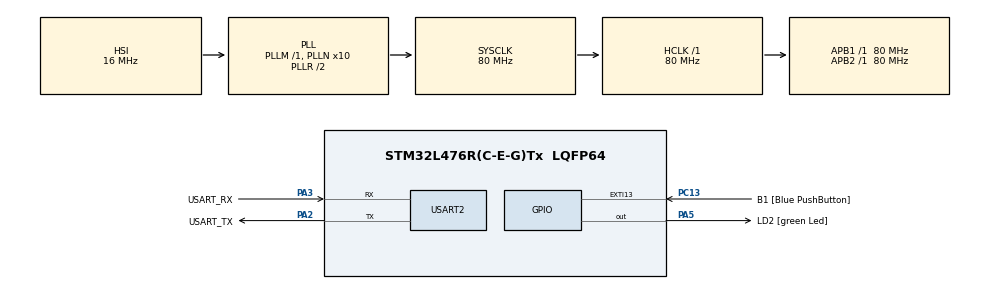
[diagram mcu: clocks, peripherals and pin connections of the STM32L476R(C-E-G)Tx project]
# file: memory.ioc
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Mcu.Family=STM32L4
Mcu.Name=STM32L476R(C-E-G)Tx
Mcu.Package=LQFP64
NVIC.PriorityGroup=NVIC_PRIORITYGROUP_4
PA13\ (JTMS-SWDIO).GPIO_Label=TMS
PA13\ (JTMS-SWDIO).Mode=Serial_Wire
PA13\ (JTMS-SWDIO).Signal=SYS_JTMS-SWDIO
PA14\ (JTCK-SWCLK).GPIO_Label=TCK
PA14\ (JTCK-SWCLK).Mode=Serial_Wire
PA14\ (JTCK-SWCLK).Signal=SYS_JTCK-SWCLK
PA2.GPIO_Label=USART_TX
PA2.GPIO_Mode=GPIO_MODE_AF_PP
PA2.GPIO_PuPd=GPIO_NOPULL
PA2.GPIO_Speed=GPIO_SPEED_FREQ_VERY_HIGH
PA2.Mode=Asynchronous
PA2.Signal=USART2_TX
PA3.GPIO_Label=USART_RX
PA3.GPIO_Mode=GPIO_MODE_AF_PP
PA3.GPIO_PuPd=GPIO_NOPULL
PA3.GPIO_Speed=GPIO_SPEED_FREQ_VERY_HIGH
PA3.Mode=Asynchronous
PA3.Signal=USART2_RX
PA5.GPIO_Label=LD2 [green Led]
PA5.GPIO_ModeDefaultOutputPP=GPIO_MODE_OUTPUT_PP
PA5.GPIO_PuPd=GPIO_NOPULL
PA5.GPIO_Speed=GPIO_SPEED_FREQ_LOW
PA5.Signal=GPIO_Output
PB3\ (JTDO-TRACESWO).GPIO_Label=SWO
PB3\ (JTDO-TRACESWO).Signal=SYS_JTDO-SWO
PC13.GPIO_Label=B1 [Blue PushButton]
PC13.GPIO_ModeDefaultEXTI=GPIO_MODE_IT_FALLING
PC13.GPIO_PuPd=GPIO_NOPULL
PC13.Signal=GPXTI13
PC14-OSC32_IN\ (PC14).Mode=LSE-External-Oscillator
PC14-OSC32_IN\ (PC14).Signal=RCC_OSC32_IN
PC15-OSC32_OUT\ (PC15).Mode=LSE-External-Oscillator
PC15-OSC32_OUT\ (PC15).Signal=RCC_OSC32_OUT
PH0-OSC_IN\ (PH0).Signal=RCC_OSC_IN
PH1-OSC_OUT\ (PH1).Signal=RCC_OSC_OUT
ProjectManager.HeapSize=0x200
ProjectManager.StackSize=0x400
ProjectManager.TargetToolchain=STM32CubeIDE
RCC.ADCFreq_Value=64000000
RCC.AHBFreq_Value=80000000
RCC.APB1Freq_Value=80000000
RCC.APB1TimFreq_Value=80000000
RCC.APB2Freq_Value=80000000
RCC.APB2TimFreq_Value=80000000
RCC.CortexFreq_Value=80000000
RCC.HCLKFreq_Value=80000000
RCC.HSE_VALUE=8000000
RCC.HSI_VALUE=16000000
RCC.MSI_VALUE=4000000
RCC.PLLN=10
RCC.PLLSourceVirtual=RCC_PLLSOURCE_HSI
RCC.PREFETCH_ENABLE=1
RCC.SYSCLKFreq_VALUE=80000000
RCC.SYSCLKSource=RCC_SYSCLKSOURCE_PLLCLK
RCC.USBFreq_Value=64000000
RCC.VCOOutputFreq_Value=160000000
USART2.VirtualMode-Asynchronous=VM_ASYNC
board=NUCLEO-L476RG

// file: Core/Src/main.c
/* USER CODE BEGIN Header */
/**
  ******************************************************************************
  * @file           : main.c
  * @brief          : Main program body
  ******************************************************************************
  * @attention
  *
  * Copyright (c) 2022 STMicroelectronics.
  * All rights reserved.
  *
  * This software is licensed under terms that can be found in the LICENSE file
  * in the root directory of this software component.
  * If no LICENSE file comes with this software, it is provided AS-IS.
  *
  ******************************************************************************
  */
/* USER CODE END Header */
#include "main.h"

/* USER CODE BEGIN PTD */
#define PUTCHAR_PROTOTYPE int __io_putchar(int ch)
/* USER CODE END PTD */

 UART_HandleTypeDef huart2;

void SystemClock_Config(void);
static void MX_GPIO_Init(void);
static void MX_USART2_UART_Init(void);

/* USER CODE BEGIN 0 */
int num1;
int num2 = 50;
static int num3 = 4;

void func(void)
{
	static int num4 = 100;
	int num5 = 12;
	char* str = "hello";
	char* pt = malloc(sizeof(char));
	printf(" num1 = %p\n\r num2 = %p\n\r num3 = %p\n\r num4 = %p\n\r num5 = %p\n\r str = %p\n\r pt = %p\n\r func = %p\n\r",&num1,&num2,&num3,&num4,&num5,str,pt,func);
	printf("\r\n");
}
/* USER CODE END 0 */

int main(void)
{

  /* MCU Configuration--------------------------------------------------------*/

  /* Reset of all peripherals, Initializes the Flash interface and the Systick. */
  HAL_Init();

  /* Configure the system clock */
  SystemClock_Config();

  /* Initialize all configured peripherals */
  MX_GPIO_Init();
  MX_USART2_UART_Init();

  /* Infinite loop */
  while (1)
  {

    /* USER CODE BEGIN 3 */
	func();
	HAL_Delay(5000);
  }
  /* USER CODE END 3 */
}

void SystemClock_Config(void)
{
  RCC_OscInitTypeDef RCC_OscInitStruct = {0};
  RCC_ClkInitTypeDef RCC_ClkInitStruct = {0};

  /** Configure the main internal regulator output voltage
  */
  if (HAL_PWREx_ControlVoltageScaling(PWR_REGULATOR_VOLTAGE_SCALE1) != HAL_OK)
  {
    Error_Handler();
  }

  /** Initializes the RCC Oscillators according to the specified parameters
  * in the RCC_OscInitTypeDef structure.
  */
  RCC_OscInitStruct.OscillatorType = RCC_OSCILLATORTYPE_HSI;
  RCC_OscInitStruct.HSIState = RCC_HSI_ON;
  RCC_OscInitStruct.HSICalibrationValue = RCC_HSICALIBRATION_DEFAULT;
  RCC_OscInitStruct.PLL.PLLState = RCC_PLL_ON;
  RCC_OscInitStruct.PLL.PLLSource = RCC_PLLSOURCE_HSI;
  RCC_OscInitStruct.PLL.PLLM = 1;
  RCC_OscInitStruct.PLL.PLLN = 10;
  RCC_OscInitStruct.PLL.PLLP = RCC_PLLP_DIV7;
  RCC_OscInitStruct.PLL.PLLQ = RCC_PLLQ_DIV2;
  RCC_OscInitStruct.PLL.PLLR = RCC_PLLR_DIV2;
  if (HAL_RCC_OscConfig(&RCC_OscInitStruct) != HAL_OK)
  {
    Error_Handler();
  }

  /** Initializes the CPU, AHB and APB buses clocks
  */
  RCC_ClkInitStruct.ClockType = RCC_CLOCKTYPE_HCLK|RCC_CLOCKTYPE_SYSCLK
                              |RCC_CLOCKTYPE_PCLK1|RCC_CLOCKTYPE_PCLK2;
  RCC_ClkInitStruct.SYSCLKSource = RCC_SYSCLKSOURCE_PLLCLK;
  RCC_ClkInitStruct.AHBCLKDivider = RCC_SYSCLK_DIV1;
  RCC_ClkInitStruct.APB1CLKDivider = RCC_HCLK_DIV1;
  RCC_ClkInitStruct.APB2CLKDivider = RCC_HCLK_DIV1;

  if (HAL_RCC_ClockConfig(&RCC_ClkInitStruct, FLASH_LATENCY_4) != HAL_OK)
  {
    Error_Handler();
  }
}

static void MX_USART2_UART_Init(void)
{

  huart2.Instance = USART2;
  huart2.Init.BaudRate = 115200;
  huart2.Init.WordLength = UART_WORDLENGTH_8B;
  huart2.Init.StopBits = UART_STOPBITS_1;
  huart2.Init.Parity = UART_PARITY_NONE;
  huart2.Init.Mode = UART_MODE_TX_RX;
  huart2.Init.HwFlowCtl = UART_HWCONTROL_NONE;
  huart2.Init.OverSampling = UART_OVERSAMPLING_16;
  huart2.Init.OneBitSampling = UART_ONE_BIT_SAMPLE_DISABLE;
  huart2.AdvancedInit.AdvFeatureInit = UART_ADVFEATURE_NO_INIT;
  if (HAL_UART_Init(&huart2) != HAL_OK)
  {
    Error_Handler();
  }

}

static void MX_GPIO_Init(void)
{
  GPIO_InitTypeDef GPIO_InitStruct = {0};

  /* GPIO Ports Clock Enable */
  __HAL_RCC_GPIOC_CLK_ENABLE();
  __HAL_RCC_GPIOH_CLK_ENABLE();
  __HAL_RCC_GPIOA_CLK_ENABLE();
  __HAL_RCC_GPIOB_CLK_ENABLE();

  /*Configure GPIO pin Output Level */
  HAL_GPIO_WritePin(LD2_GPIO_Port, LD2_Pin, GPIO_PIN_RESET);

  /*Configure GPIO pin : B1_Pin */
  GPIO_InitStruct.Pin = B1_Pin;
  GPIO_InitStruct.Mode = GPIO_MODE_IT_FALLING;
  GPIO_InitStruct.Pull = GPIO_NOPULL;
  HAL_GPIO_Init(B1_GPIO_Port, &GPIO_InitStruct);

  /*Configure GPIO pin : LD2_Pin */
  GPIO_InitStruct.Pin = LD2_Pin;
  GPIO_InitStruct.Mode = GPIO_MODE_OUTPUT_PP;
  GPIO_InitStruct.Pull = GPIO_NOPULL;
  GPIO_InitStruct.Speed = GPIO_SPEED_FREQ_LOW;
  HAL_GPIO_Init(LD2_GPIO_Port, &GPIO_InitStruct);

}

/* USER CODE BEGIN 4 */
PUTCHAR_PROTOTYPE
{
  /* Place your implementation of fputc here */
  /* e.g. write a character to the USART1 and Loop until the end of transmission */
  HAL_UART_Transmit(&huart2, (uint8_t *)&ch, 1, 0xFFFF);

  return ch;
}
/* USER CODE END 4 */

void Error_Handler(void)
{
  __disable_irq();
  while (1)
  {
  }
}
